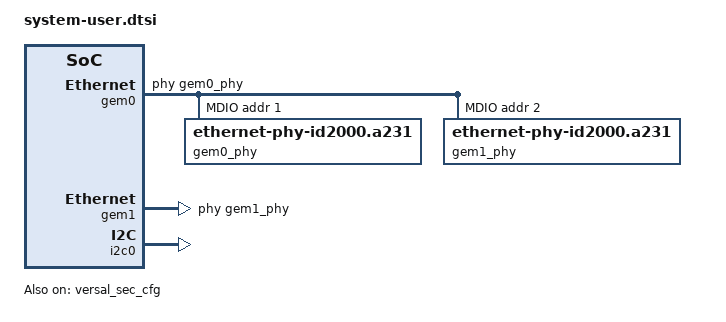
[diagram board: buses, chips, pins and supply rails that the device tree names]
// SPDX-License-Identifier: MIT
// Copyright (C) 2026, Opsero Electronic Design Inc.  All rights reserved.

/*
 * qsfp28-fmc-rocelet, VCK190 (vck190_fmcp1): fixups layered on the gen-machineconf / lopper
 * generated cortexa72-linux.dts (Linux domain only, see device-tree.bbappend). The SDT (from the
 * XSA) carries the CIPS and the PL cores of the block design (Vivado/src/bd/bd_versal.tcl), all on
 * CIPS M_AXI_LPD: rsys_aon_0 (always-on block + clock guard in front of rocelet_sys, 1 MB at
 * 0x8000_0000, pl_ps_irq0), axi_iic_clk (Si5328, 0x8010_0000), axi_iic_qsfp0 (QSFP28 port 0,
 * 0x8011_0000), axi_dma_0 (netdev channel, 0x8012_0000), mrmac_0 (0x8013_0000) and the GT quad's
 * APB bridge (0x8014_0000, no Linux node needed). Register map: docs (Versal hardware page).
 *
 * Labels this file depends on (lopper names a node after its block-design cell): gem0, gem1,
 * i2c0, versal_sec_cfg, rsys_aon_0, mrmac_0, axi_dma_0, dma_channel_80120030.
 */

/* PS GEM0 / GEM1 (board RJ45s; GEM0 = the jack next to the USB connector): the SDT flow does not
 * describe the board's TI DP83867 PHYs, so Linux would use the Generic PHY driver and never
 * program the RGMII delays (link up, no packets). Both PHYs sit on GEM0's MDIO bus. Values from
 * versal-vmk180-revA.dts. Fixed MACs: the Opsero bench addresses of the VCK190 (stable DHCP
 * lease; rl0 below takes + 2); change them for a board on your own network.
 */
&gem0 {
	local-mac-address = [00 0a 35 06 21 90];
	phy-handle = <&gem0_phy>;
	mdio {
		#address-cells = <1>;
		#size-cells = <0>;
		gem0_phy: ethernet-phy@1 {
			compatible = "ethernet-phy-id2000.a231";
			reg = <1>;
			ti,rx-internal-delay = <0xb>;
			ti,tx-internal-delay = <0xa>;
			ti,fifo-depth = <0x1>;
			ti,dp83867-rxctrl-strap-quirk;
		};
		gem1_phy: ethernet-phy@2 {
			compatible = "ethernet-phy-id2000.a231";
			reg = <2>;
			ti,rx-internal-delay = <0xb>;
			ti,tx-internal-delay = <0xa>;
			ti,fifo-depth = <0x1>;
			ti,dp83867-rxctrl-strap-quirk;
		};
	};
};

&gem1 {
	local-mac-address = [00 0a 35 06 21 91];
	phy-handle = <&gem1_phy>;
};

/* LPD I2C0 (ff020000): the board's PMBus / FMC power tree, among it the TCA9548 at 0x74 and,
 * behind it, the IR38164 at 0x1E that makes VADJ_FMC. roceletd drives the mux and the regulator
 * itself through i2c-dev (vadj.c: idempotent 1.5 V enable at start-up; U-Boot does the same before
 * every boot), so no mux node is declared: a pca954x driver would own the mux and hide 0x1E. */
&i2c0 {
	status = "okay";
};

/* The PMC eFUSE cache through the PLM (xilinx-secure-config nvmem device, CONFIG_XLNX_SEC_CFG):
 * roceletd reads the device DNA there (the board's serial on the console and the web UI). */
&versal_sec_cfg {
	status = "okay";
};

/* The rocelet register window (engine +0x0, system +0x1_0000, URAM +0x4_0000, always-on registers
 * +0x8_0000) for roceletd: generic UIO (the systemd-boot entry passes
 * uio_pdrv_genirq.of_id=generic-uio), named rocelet-regs (udev: /dev/rocelet-regs), with the
 * always-on block's aggregated interrupt: CIPS pl_ps_irq0 = GIC SPI 84 (0x54), stated here in case
 * the SDT leaves it out (the same value lopper emits). Every access is answered OKAY by the clock
 * guard, so a user-space mapping cannot raise an SError.
 */
&rsys_aon_0 {
	compatible = "generic-uio";
	linux,uio-name = "rocelet-regs";
	interrupt-parent = <&gic>;
	interrupts = <0x0 0x54 0x4>;
};

/* The MRMAC (1x100GE, MRMAC_X0Y0): its registers belong to roceletd (mac.c: mode, RS-FEC, MTU,
 * PAUSE, status; UIO rocelet-mrmac, udev /dev/rocelet-mrmac). The MAC's frames go to the rocelet
 * engine, not to an AXI DMA, so the stock axienet driver (which binds xlnx,mrmac-ethernet-1.0)
 * must not touch it: generic UIO, no interrupt. reg = the whole 64 KB block of the address map
 * (the SDT gives one 4 KB port page). */
&mrmac_0 {
	compatible = "generic-uio";
	linux,uio-name = "rocelet-mrmac";
	reg = <0x0 0x80130000 0x0 0x10000>;
	/delete-property/ interrupts;
	/delete-property/ interrupt-names;
	/delete-property/ interrupt-parent;
};

/ {
	/* The engine's PS DDR window (C_DDR_BASE / C_DDR_SIZE, one 256 MB region in the DDR4 DIMM's
	 * low 2 GB, reached through the NoC): kept out of the kernel's memory map, so the PL masters
	 * own it. roceletd maps it through the UIO device below (uncached: no cache maintenance,
	 * aligned accesses only) and gives the engine its physical address. Clear of every fixed
	 * EDF boot address (PLM DTB 0x1000, kernel 0x20_0000, ramdisk 0x210_0000, U-Boot 0x800_0000,
	 * pxe 0x1000_0000, boot script 0x2000_0000, kernel_comp 0x3000_0000-0x33BF_FFFF; U-Boot
	 * relocates below 0x8000_0000 and its EFI / LMB allocators honour this reserved node). */
	reserved-memory {
		#address-cells = <2>;
		#size-cells = <2>;
		ranges;
		rocelet_ddr_mem: rocelet-ddr@60000000 {
			reg = <0x0 0x60000000 0x0 0x10000000>;
			no-map;
		};
	};

	rocelet_ddr: rocelet-ddr@60000000 {
		compatible = "generic-uio";
		reg = <0x0 0x60000000 0x0 0x10000000>;
		linux,uio-name = "rocelet-ddr";
	};

	/* rl0: the Linux network interface of QSFP28 port 0 (sw/linux/rl-net, rl_net.ko). Every frame
	 * the engine does not terminate (not RoCE v2 UDP 4791) reaches Linux through the AXI DMA's S2MM
	 * channel, Linux's frames leave through MM2S. reg = the always-on registers (link status for the
	 * carrier, read only). MAC: the bench MAC of the VCK190 + 2 (GEM0 + 0, GEM1 + 1); change it
	 * with the GEM addresses. */
	rocelet_net: rocelet-net@80080000 {
		compatible = "opsero,rocelet-net-1.0";
		reg = <0x0 0x80080000 0x0 0x100>;
		dmas = <&axi_dma_0 0>, <&axi_dma_0 1>;
		dma-names = "tx", "rx";
		local-mac-address = [00 0a 35 06 21 92];
	};
};

/* The AXI DMA masters reach the whole Linux memory through the NoC (DDR4 2 GB at 0x0 + 6 GB at
 * 0x500_0000_0000): 64-bit addressing (c_addr_width 64). xilinx_dma sets the DMA mask from this
 * property, and rl_net maps its buffers against the DMA device; stated here in case the SDT gives
 * the IP's default. */
&axi_dma_0 {
	xlnx,addrwidth = <0x40>;
};

/* rl_net keeps many RX buffers queued on S2MM; xilinx_dma sets the interrupt-coalescing threshold to
 * the number of queued descriptors, so the delay timer (1 = 125 SG clocks) must raise the IRQ after
 * every burst. It is read with of_property_read_u8(): an 8-bit value. */
&dma_channel_80120030 {
	xlnx,irq-delay = /bits/ 8 <1>;
};
